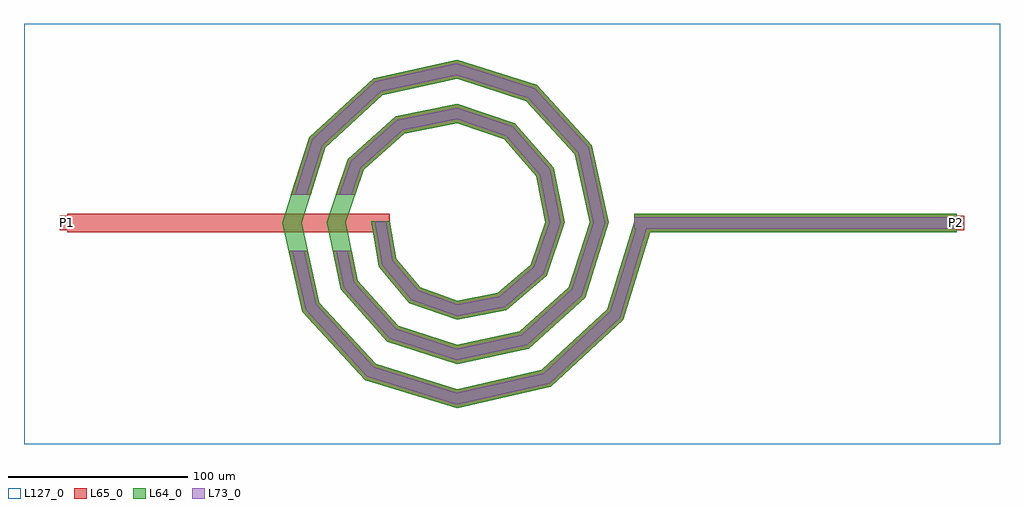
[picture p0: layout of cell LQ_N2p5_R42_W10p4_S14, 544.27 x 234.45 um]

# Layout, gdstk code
import gdstk
lib = gdstk.Library(unit=1e-6, precision=1e-09)
def R(c, l, rs):  # rectangles x0, y0, x1, y1
    for r in rs: c.add(gdstk.rectangle(r[:2], r[2:], *l))
def P(c, l, *ps):  # polygons
    for p in ps: c.add(gdstk.Polygon(p, *l))
L64_0 = (64, 0)
L65_0 = (65, 0)
L73_0 = (73, 0)
L127_0 = (127, 0)

lq_n2p5_r42_w10p4_s14 = lib.new_cell('LQ_N2p5_R42_W10p4_S14')
R(lq_n2p5_r42_w10p4_s14, L64_0, [(98.987,-5.2,278.987,5.2)])
P(lq_n2p5_r42_w10p4_s14, L64_0, [(-33.695,-19.988),(-20.232,-35.927),(0.424,-43.285),(23.022,-39.063),(41.242,-23.36),(49.452,0.376),(44.426,26.068),(26.479,46.563),(0.338,55.62),(-29.122,49.786),(-51.889,29.592),(-61.789,0.307),(-55.143,-32.181),(-32.7,-57.217),(0.281,-67.958),(35.244,-60.497),(62.548,-35.805),(74.127,0.26),(65.851,38.311),(38.906,67.882),(0.241,80.297),(-41.38,71.202),(-73.216,42.006),(-86.467,0.225),(-76.553,-44.452),(-45.103,-78.552),(0.211,-92.636),(47.525,-81.903),(83.889,-48.2),(99.217,1.532),(109.156,-1.532),(93.005,-53.93),(52.548,-91.428),(0.211,-103.396),(-50.856,-87.655),(-86.091,-49.451),(-97.225,0.225),(-82.303,47.783),(-46.352,80.755),(0.241,91.055),(44.713,76.951),(75.419,43.251),(84.883,0.26),(71.597,-41.644),(40.148,-70.085),(0.281,-78.712),(-38.578,-66.241),(-64.753,-37.041),(-72.541,0.307),(-60.882,35.516),(-33.93,59.423),(0.338,66.369),(32.459,55.52),(54.095,30.813),(60.197,0.376),(50.154,-29.408),(27.688,-48.771),(0.424,-54.023),(-26.366,-44.782),(-43.452,-24.553),(-47.605,0.899),(-37.362,0.899)])
R(lq_n2p5_r42_w10p4_s14, L65_0, [(-217.284,-5.2,-37.284,5.2), (98.987,-5.2,278.987,5.2), (-221.284,-4,-213.284,4), (274.987,-4,282.987,4)])
P(lq_n2p5_r42_w10p4_s14, L65_0, [(-76.553,-44.452),(-45.104,-78.552),(0.211,-92.636),(47.525,-81.903),(83.889,-48.2),(99.217,1.532),(109.156,-1.532),(93.005,-53.93),(52.548,-91.428),(0.211,-103.396),(-50.856,-87.655),(-86.091,-49.451),(-93.678,-15.6),(-83.02,-15.6)],
  [(-55.143,-32.181),(-32.7,-57.217),(0.282,-67.958),(35.244,-60.497),(62.549,-35.805),(74.127,0.26),(65.851,38.311),(38.906,67.882),(0.241,80.297),(-41.381,71.203),(-73.216,42.006),(-81.501,15.6),(-92.401,15.6),(-82.303,47.783),(-46.352,80.755),(0.241,91.055),(44.713,76.951),(75.419,43.251),(84.884,0.26),(71.597,-41.644),(40.148,-70.085),(0.282,-78.712),(-38.578,-66.241),(-64.753,-37.041),(-69.224,-15.6),(-58.6,-15.6)],
  [(-20.232,-35.927),(0.424,-43.285),(23.022,-39.063),(41.242,-23.36),(49.452,0.376),(44.426,26.068),(26.479,46.563),(0.338,55.62),(-29.122,49.786),(-51.889,29.592),(-56.522,15.6),(-67.477,15.6),(-60.882,35.516),(-33.93,59.423),(0.338,66.369),(32.459,55.52),(54.095,30.813),(60.197,0.376),(50.154,-29.408),(27.688,-48.771),(0.424,-54.023),(-26.366,-44.782),(-43.452,-24.553),(-47.606,0.899),(-37.362,0.899),(-33.695,-19.988)])
R(lq_n2p5_r42_w10p4_s14, L73_0, [(98.987,-3.2,278.987,3.2)])
P(lq_n2p5_r42_w10p4_s14, L73_0, [(-78.388,-45.413),(-46.21,-80.303),(0.13,-94.706),(48.491,-83.735),(85.642,-49.302),(101.129,0.943),(107.245,0.943),(91.252,-52.828),(51.582,-89.597),(0.13,-101.327),(-49.75,-85.904),(-84.257,-48.489),(-91.629,-15.6),(-85.07,-15.6)],
  [(-56.991,-33.116),(-33.831,-58.953),(0.173,-70.026),(36.187,-62.341),(64.289,-36.928),(76.196,0.16),(67.691,39.261),(40.023,69.626),(0.148,82.366),(-42.337,73.039),(-74.964,43.117),(-83.598,15.6),(-90.305,15.6),(-80.556,46.672),(-45.396,78.918),(0.148,88.986),(43.596,75.207),(73.579,42.301),(82.815,0.16),(69.857,-40.521),(39.205,-68.241),(0.173,-76.644),(-37.448,-64.505),(-62.905,-36.106),(-67.181,-15.6),(-60.643,-15.6)],
  [(-21.411,-37.63),(0.261,-45.35),(23.92,-40.93),(42.956,-24.523),(51.518,0.232),(46.285,26.981),(27.629,48.286),(0.208,57.687),(-30.046,51.639),(-53.618,30.731),(-58.628,15.6),(-65.37,15.6),(-59.153,34.377),(-33.005,57.569),(0.208,64.302),(31.309,53.798),(52.236,29.901),(58.13,0.232),(48.44,-28.245),(26.791,-46.904),(0.261,-51.958),(-25.186,-43.079),(-41.576,-23.675),(-45.636,0.553),(-39.332,0.553),(-35.571,-20.866)])
R(lq_n2p5_r42_w10p4_s14, L127_0, [(-241.284,-123.396,302.987,111.055)])
lq_n2p5_r42_w10p4_s14.add(gdstk.Label('P2', (278.987,0), layer=65, texttype=0))
lq_n2p5_r42_w10p4_s14.add(gdstk.Label('P1', (-217.284,0), layer=65, texttype=0))
lq_n2p5_r42_w10p4_s14.add(gdstk.Label('P2', (282.987,0), layer=145, texttype=0))
lq_n2p5_r42_w10p4_s14.add(gdstk.Label('P1', (-221.284,0), layer=145, texttype=0))

lib.write_gds('LQ_N2p5_R42_W10p4_S14.gds')
